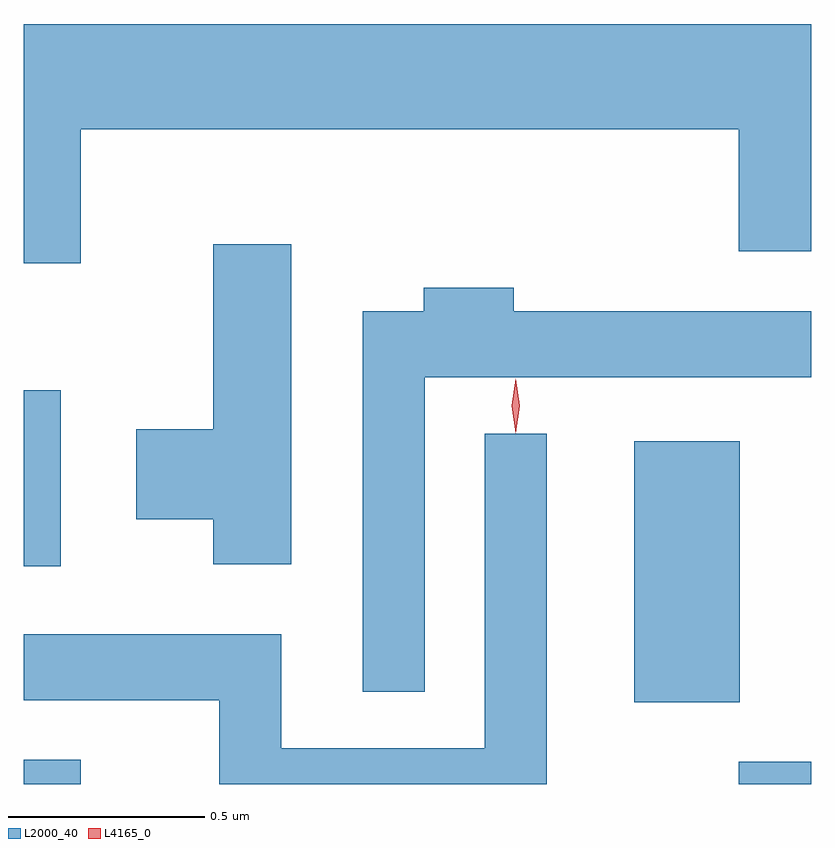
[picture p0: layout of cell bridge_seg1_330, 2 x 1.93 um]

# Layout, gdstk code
import gdstk
lib = gdstk.Library(unit=1e-6, precision=1e-09)
def R(c, l, rs):  # rectangles x0, y0, x1, y1
    for r in rs: c.add(gdstk.rectangle(r[:2], r[2:], *l))
def P(c, l, *ps):  # polygons
    for p in ps: c.add(gdstk.Polygon(p, *l))
L2000_40 = (2000, 40)
L4165_0 = (4165, 0)

bridge_seg1_330 = lib.new_cell('bridge_seg1_330')
R(bridge_seg1_330, L2000_40, [(907.825,880.153,907.969,880.214), (909.641,880.153,909.825,880.209), (909.376,880.361,909.644,881.024), (907.825,880.706,907.919,881.154)])
P(bridge_seg1_330, L2000_40, [(907.969,881.816),(909.641,881.816),(909.641,881.506),(909.825,881.506),(909.825,882.084),(907.825,882.084),(907.825,881.476),(907.969,881.476)],
  [(908.504,881.524),(908.306,881.524),(908.306,881.054),(908.111,881.054),(908.111,880.826),(908.306,880.826),(908.306,880.711),(908.504,880.711)],
  [(908.844,881.186),(909.825,881.186),(909.825,881.354),(909.069,881.354),(909.069,881.414),(908.841,881.414),(908.841,881.354),(908.686,881.354),(908.686,880.388),(908.844,880.388)],
  [(909.154,881.043),(908.996,881.043),(908.996,880.244),(908.479,880.244),(908.479,880.534),(907.825,880.534),(907.825,880.366),(908.321,880.366),(908.321,880.153),(909.154,880.153)])
P(bridge_seg1_330, L4165_0, [(909.074,881.047),(909.064,881.114),(909.074,881.18),(909.074,881.18),(909.075,881.18),(909.084,881.114),(909.075,881.047),(909.075,881.047)],
  [(909.074,881.044),(909.065,881.114),(909.074,881.183),(909.075,881.183),(909.075,881.183),(909.085,881.114),(909.075,881.044),(909.075,881.044)])

lib.write_gds('bridge_seg1_330.gds')
